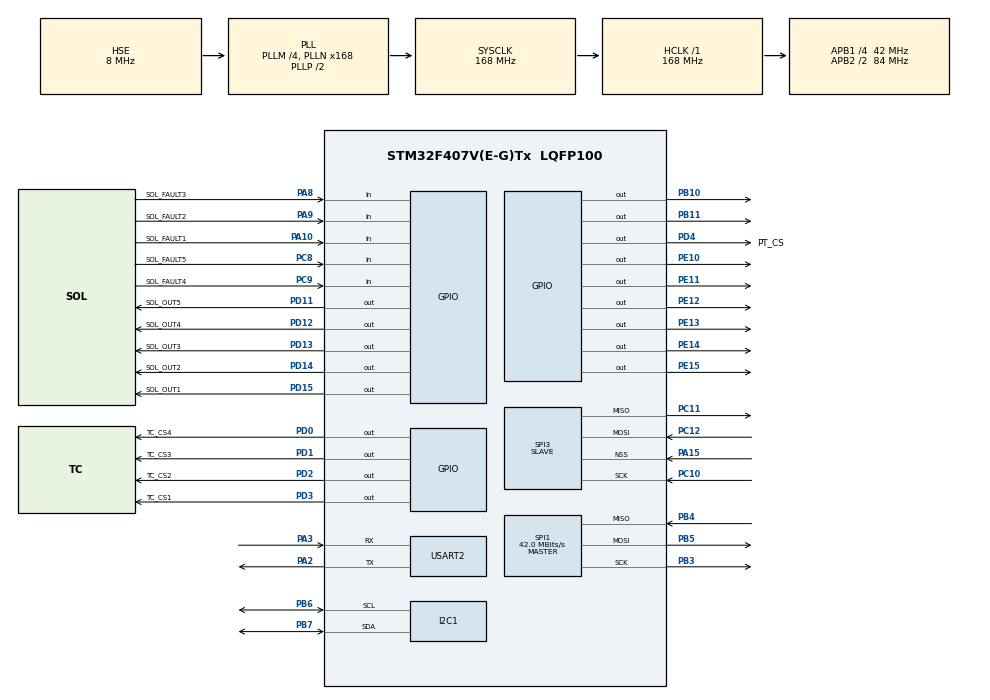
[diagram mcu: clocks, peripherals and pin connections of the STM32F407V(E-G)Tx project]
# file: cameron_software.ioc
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Mcu.Family=STM32F4
Mcu.Name=STM32F407V(E-G)Tx
Mcu.Package=LQFP100
NVIC.PriorityGroup=NVIC_PRIORITYGROUP_4
PA10.GPIO_Label=SOL_FAULT1
PA10.Signal=GPIO_Input
PA13.Mode=Serial_Wire
PA13.Signal=SYS_JTMS-SWDIO
PA14.Mode=Serial_Wire
PA14.Signal=SYS_JTCK-SWCLK
PA15.Mode=NSS_Signal_Hard_Input
PA15.Signal=SPI3_NSS
PA2.Mode=Asynchronous
PA2.Signal=USART2_TX
PA3.Mode=Asynchronous
PA3.Signal=USART2_RX
PA8.GPIO_Label=SOL_FAULT3
PA8.Signal=GPIO_Input
PA9.GPIO_Label=SOL_FAULT2
PA9.Signal=GPIO_Input
PB10.Signal=GPIO_Output
PB11.Signal=GPIO_Output
PB3.Mode=Full_Duplex_Master
PB3.Signal=SPI1_SCK
PB4.Mode=Full_Duplex_Master
PB4.Signal=SPI1_MISO
PB5.Mode=Full_Duplex_Master
PB5.Signal=SPI1_MOSI
PB6.Mode=I2C
PB6.Signal=I2C1_SCL
PB7.Mode=I2C
PB7.Signal=I2C1_SDA
PC10.Mode=Full_Duplex_Slave
PC10.Signal=SPI3_SCK
PC11.Mode=Full_Duplex_Slave
PC11.Signal=SPI3_MISO
PC12.Mode=Full_Duplex_Slave
PC12.Signal=SPI3_MOSI
PC8.GPIO_Label=SOL_FAULT5
PC8.Signal=GPIO_Input
PC9.GPIO_Label=SOL_FAULT4
PC9.Signal=GPIO_Input
PD0.GPIO_Label=TC_CS4
PD0.Signal=GPIO_Output
PD1.GPIO_Label=TC_CS3
PD1.Signal=GPIO_Output
PD11.GPIO_Label=SOL_OUT5
PD11.Signal=GPIO_Output
PD12.GPIO_Label=SOL_OUT4
PD12.Signal=GPIO_Output
PD13.GPIO_Label=SOL_OUT3
PD13.Signal=GPIO_Output
PD14.GPIO_Label=SOL_OUT2
PD14.Signal=GPIO_Output
PD15.GPIO_Label=SOL_OUT1
PD15.Signal=GPIO_Output
PD2.GPIO_Label=TC_CS2
PD2.Signal=GPIO_Output
PD3.GPIO_Label=TC_CS1
PD3.Signal=GPIO_Output
PD4.GPIO_Label=PT_CS
PD4.Signal=GPIO_Output
PE10.Signal=GPIO_Output
PE11.Signal=GPIO_Output
PE12.Signal=GPIO_Output
PE13.Signal=GPIO_Output
PE14.Signal=GPIO_Output
PE15.Signal=GPIO_Output
PH0-OSC_IN.Mode=HSE-External-Oscillator
PH0-OSC_IN.Signal=RCC_OSC_IN
PH1-OSC_OUT.Mode=HSE-External-Oscillator
PH1-OSC_OUT.Signal=RCC_OSC_OUT
ProjectManager.HeapSize=0x200
ProjectManager.StackSize=0x400
ProjectManager.TargetToolchain=TrueSTUDIO
RCC.48MHZClocksFreq_Value=84000000
RCC.AHBFreq_Value=168000000
RCC.APB1CLKDivider=RCC_HCLK_DIV4
RCC.APB1Freq_Value=42000000
RCC.APB1TimFreq_Value=84000000
RCC.APB2CLKDivider=RCC_HCLK_DIV2
RCC.APB2Freq_Value=84000000
RCC.APB2TimFreq_Value=168000000
RCC.CortexFreq_Value=168000000
RCC.HCLKFreq_Value=168000000
RCC.HSE_VALUE=8000000
RCC.HSI_VALUE=16000000
RCC.LSE_VALUE=32768
RCC.PLLM=4
RCC.PLLN=168
RCC.PLLSourceVirtual=RCC_PLLSOURCE_HSE
RCC.SYSCLKFreq_VALUE=168000000
RCC.SYSCLKSource=RCC_SYSCLKSOURCE_PLLCLK
RCC.VCOOutputFreq_Value=336000000
SPI1.BaudRatePrescaler=SPI_BAUDRATEPRESCALER_2
SPI1.CalculateBaudRate=42.0 MBits/s
SPI1.Direction=SPI_DIRECTION_2LINES
SPI1.Mode=SPI_MODE_MASTER
SPI1.VirtualType=VM_MASTER
SPI3.Direction=SPI_DIRECTION_2LINES
SPI3.Mode=SPI_MODE_SLAVE
SPI3.VirtualNSS=VM_NSSHARD
SPI3.VirtualType=VM_SLAVE
USART2.VirtualMode=VM_ASYNC
board=cameron_software

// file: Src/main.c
/**
  ******************************************************************************
  * @file           : main.c
  * @brief          : Main program body
  ******************************************************************************
  ** This notice applies to any and all portions of this file
  * that are not between comment pairs USER CODE BEGIN and
  * USER CODE END. Other portions of this file, whether
  * inserted by the user or by software development tools
  * are owned by their respective copyright owners.
  *
  * COPYRIGHT(c) 2018 STMicroelectronics
  *
  * Redistribution and use in source and binary forms, with or without modification,
  * are permitted provided that the following conditions are met:
  *   1. Redistributions of source code must retain the above copyright notice,
  *      this list of conditions and the following disclaimer.
  *   2. Redistributions in binary form must reproduce the above copyright notice,
  *      this list of conditions and the following disclaimer in the documentation
  *      and/or other materials provided with the distribution.
  *   3. Neither the name of STMicroelectronics nor the names of its contributors
  *      may be used to endorse or promote products derived from this software
  *      without specific prior written permission.
  *
  * THIS SOFTWARE IS PROVIDED BY THE COPYRIGHT HOLDERS AND CONTRIBUTORS "AS IS"
  * AND ANY EXPRESS OR IMPLIED WARRANTIES, INCLUDING, BUT NOT LIMITED TO, THE
  * IMPLIED WARRANTIES OF MERCHANTABILITY AND FITNESS FOR A PARTICULAR PURPOSE ARE
  * DISCLAIMED. IN NO EVENT SHALL THE COPYRIGHT HOLDER OR CONTRIBUTORS BE LIABLE
  * FOR ANY DIRECT, INDIRECT, INCIDENTAL, SPECIAL, EXEMPLARY, OR CONSEQUENTIAL
  * DAMAGES (INCLUDING, BUT NOT LIMITED TO, PROCUREMENT OF SUBSTITUTE GOODS OR
  * SERVICES; LOSS OF USE, DATA, OR PROFITS; OR BUSINESS INTERRUPTION) HOWEVER
  * CAUSED AND ON ANY THEORY OF LIABILITY, WHETHER IN CONTRACT, STRICT LIABILITY,
  * OR TORT (INCLUDING NEGLIGENCE OR OTHERWISE) ARISING IN ANY WAY OUT OF THE USE
  * OF THIS SOFTWARE, EVEN IF ADVISED OF THE POSSIBILITY OF SUCH DAMAGE.
  *
  ******************************************************************************
  */
#include "main.h"
#include "stm32f4xx_hal.h"
#include "i2c.h"
#include "spi.h"
#include "usart.h"
#include "gpio.h"

/* USER CODE BEGIN PV */
/* Private variables ---------------------------------------------------------*/

/* USER CODE END PV */

void SystemClock_Config(void);

/* USER CODE BEGIN PFP */
/* Private function prototypes -----------------------------------------------*/

/* USER CODE END PFP */

int main(void)
{

  /* MCU Configuration----------------------------------------------------------*/

  /* Reset of all peripherals, Initializes the Flash interface and the Systick. */
  HAL_Init();

  /* Configure the system clock */
  SystemClock_Config();

  /* Initialize all configured peripherals */
  MX_GPIO_Init();
  MX_I2C1_Init();
  MX_SPI1_Init();
  MX_SPI3_Init();
  MX_USART2_UART_Init();
  /* USER CODE BEGIN 2 */

  uint16_t TX_BUF_SIZE = 24;
  uint16_t RX_BUF_SIZE = 24;
  uint32_t timeout = 10000;

  uint8_t txBuf[TX_BUF_SIZE];
  uint8_t rxBuf[RX_BUF_SIZE];
  /* USER CODE END 2 */

  /* Infinite loop */
  while (1)
  {

  }

}

void SystemClock_Config(void)
{

  RCC_OscInitTypeDef RCC_OscInitStruct;
  RCC_ClkInitTypeDef RCC_ClkInitStruct;

    /**Configure the main internal regulator output voltage
    */
  __HAL_RCC_PWR_CLK_ENABLE();

  __HAL_PWR_VOLTAGESCALING_CONFIG(PWR_REGULATOR_VOLTAGE_SCALE1);

    /**Initializes the CPU, AHB and APB busses clocks
    */
  RCC_OscInitStruct.OscillatorType = RCC_OSCILLATORTYPE_HSE;
  RCC_OscInitStruct.HSEState = RCC_HSE_ON;
  RCC_OscInitStruct.PLL.PLLState = RCC_PLL_ON;
  RCC_OscInitStruct.PLL.PLLSource = RCC_PLLSOURCE_HSE;
  RCC_OscInitStruct.PLL.PLLM = 4;
  RCC_OscInitStruct.PLL.PLLN = 168;
  RCC_OscInitStruct.PLL.PLLP = RCC_PLLP_DIV2;
  RCC_OscInitStruct.PLL.PLLQ = 4;
  if (HAL_RCC_OscConfig(&RCC_OscInitStruct) != HAL_OK)
  {
    _Error_Handler(__FILE__, __LINE__);
  }

    /**Initializes the CPU, AHB and APB busses clocks
    */
  RCC_ClkInitStruct.ClockType = RCC_CLOCKTYPE_HCLK|RCC_CLOCKTYPE_SYSCLK
                              |RCC_CLOCKTYPE_PCLK1|RCC_CLOCKTYPE_PCLK2;
  RCC_ClkInitStruct.SYSCLKSource = RCC_SYSCLKSOURCE_PLLCLK;
  RCC_ClkInitStruct.AHBCLKDivider = RCC_SYSCLK_DIV1;
  RCC_ClkInitStruct.APB1CLKDivider = RCC_HCLK_DIV4;
  RCC_ClkInitStruct.APB2CLKDivider = RCC_HCLK_DIV2;

  if (HAL_RCC_ClockConfig(&RCC_ClkInitStruct, FLASH_LATENCY_5) != HAL_OK)
  {
    _Error_Handler(__FILE__, __LINE__);
  }

    /**Configure the Systick interrupt time
    */
  HAL_SYSTICK_Config(HAL_RCC_GetHCLKFreq()/1000);

    /**Configure the Systick
    */
  HAL_SYSTICK_CLKSourceConfig(SYSTICK_CLKSOURCE_HCLK);

  /* SysTick_IRQn interrupt configuration */
  HAL_NVIC_SetPriority(SysTick_IRQn, 0, 0);
}

/* USER CODE BEGIN 4 */

void SPI3_send(uint8_t *pData, uint16_t Size, uint32_t Timeout)
{
	// With the pin being put to "GPIO_PIN_RESET" or 0, the chip is selected
	// to be written to.
	while(HAL_SPI_GetState(&hspi3) == HAL_SPI_STATE_READY);

	HAL_SPI_Transmit(&hspi3, (uint8_t*)(pData), Size, Timeout);
	// Waits until the SPI bus is not busy

}

void SPI3_receive(uint8_t *pData, uint16_t Size, uint32_t Timeout)
{
	// With the pin being put to "GPIO_PIN_RESET" or 0, the chip is selected
	// to be written to.
	while(HAL_SPI_GetState(&hspi3) == HAL_SPI_STATE_READY);

	HAL_SPI_Receive(&hspi3, pData, Size, Timeout);

	// Waits until the SPI bus is not busy

}

void SPI1_send(uint8_t *pData, uint16_t Size, uint32_t Timeout)
{
	// With the pin being put to "GPIO_PIN_RESET" or 0, the chip is selected
	// to be written to.
	//HAL_GPIO_WritePin(SPI1_CS_GPIO_Port, SPI1_CS_Pin, GPIO_PIN_RESET);

	HAL_SPI_Transmit(&hspi1, (uint8_t*)(pData), Size, Timeout);
	// Waits until the SPI bus is not busy
	while(HAL_SPI_GetState(&hspi1) == HAL_SPI_STATE_BUSY);

	// Sets the CS pin to high, which deselects it
	//HAL_GPIO_WritePin(SPI1_CS_GPIO_Port, SPI1_CS_Pin, GPIO_PIN_SET);
}

void SPI1_receive(uint8_t *pData, uint16_t Size, uint32_t Timeout)
{
	// With the pin being put to "GPIO_PIN_RESET" or 0, the chip is selected
	// to be written to.
	//HAL_GPIO_WritePin(SPI1_CS_GPIO_Port, SPI1_CS_Pin, GPIO_PIN_RESET);

	HAL_SPI_Receive(&hspi1, pData, Size, Timeout);

	// Waits until the SPI bus is not busy
	while(HAL_SPI_GetState(&hspi1) == HAL_SPI_STATE_BUSY);

	// Sets the CS pin to high, which deselects it
	//HAL_GPIO_WritePin(SPI1_CS_GPIO_Port, SPI1_CS_Pin, GPIO_PIN_SET);

}

void SPI1_send_receive(uint8_t *pTxData, uint8_t *pRxData, uint16_t Size, uint32_t Timeout)
{
	// With the pin being put to "GPIO_PIN_RESET" or 0, the chip is selected
	// to be written to.
	//HAL_GPIO_WritePin(SPI1_CS_GPIO_Port, SPI1_CS_Pin, GPIO_PIN_RESET);

	HAL_SPI_TransmitReceive(&hspi1, pTxData, pRxData, Size, Timeout);

	// Waits until the SPI bus is not busy
	while(HAL_SPI_GetState(&hspi1) == HAL_SPI_STATE_BUSY);

	// Sets the CS pin to high, which deselects it
	//HAL_GPIO_WritePin(SPI1_CS_GPIO_Port, SPI1_CS_Pin, GPIO_PIN_SET);

}

void read_TC_1(uint8_t *rxBuf, uint32_t timeout)
{
	HAL_GPIO_WritePin(TC_CS1_GPIO_Port, TC_CS1_Pin, GPIO_PIN_RESET);
	//requires 32 bit buffer
	//rxBuf[31] is sign bit, rxBuf[30:18] are TC temperature(signed value)
	//rxBuf[15:4] is reference voltage
	SPI1_receive(rxBuf, (uint16_t)4, timeout);

	HAL_GPIO_WritePin(TC_CS1_GPIO_Port, TC_CS1_Pin, GPIO_PIN_SET);
}

void read_TC_2(uint8_t *rxBuf, uint32_t timeout)
{
	HAL_GPIO_WritePin(TC_CS2_GPIO_Port, TC_CS2_Pin, GPIO_PIN_RESET);
	//requires 32 bit buffer
	//rxBuf[31] is sign bit, rxBuf[30:18] are TC temperature(signed value)
	//rxBuf[15:4] is reference voltage
	SPI1_receive(rxBuf, (uint16_t)4, timeout);

	HAL_GPIO_WritePin(TC_CS2_GPIO_Port, TC_CS2_Pin, GPIO_PIN_SET);
}

void read_TC_3(uint8_t *rxBuf, uint32_t timeout)
{
	HAL_GPIO_WritePin(TC_CS3_GPIO_Port, TC_CS3_Pin, GPIO_PIN_RESET);
	//requires 32 bit buffer
	//rxBuf[31] is sign bit, rxBuf[30:18] are TC temperature(signed value)
	//rxBuf[15:4] is reference voltage
	SPI1_receive(rxBuf, (uint16_t)4, timeout);

	HAL_GPIO_WritePin(TC_CS3_GPIO_Port, TC_CS3_Pin, GPIO_PIN_SET);
}

void read_TC_4(uint8_t *rxBuf, uint32_t timeout)
{
	HAL_GPIO_WritePin(TC_CS4_GPIO_Port, TC_CS4_Pin, GPIO_PIN_RESET);
	//requires 32 bit buffer
	//rxBuf[31] is sign bit, rxBuf[30:18] are TC temperature(signed value)
	//rxBuf[15:4] is reference voltage
	SPI1_receive(rxBuf, (uint16_t)4, timeout);

	HAL_GPIO_WritePin(TC_CS4_GPIO_Port, TC_CS4_Pin, GPIO_PIN_SET);
}

void read_PT(uint8_t *rxBuf, uint32_t timeout, uint8_t pt_choice)
{
	//Select PT ADC, sets the pin to low, as the ADC chip select is active low
	HAL_GPIO_WritePin(PT_CS_GPIO_Port, PT_CS_Pin, GPIO_PIN_RESET);

	//configure ADC to output select
	uint8_t configure = 0x01;
	SPI1_send(&configure, (uint16_t)1, timeout);

	//select analog input
	uint16_t choice_mask = 0x0410;
	choice_mask = choice_mask & (uint16_t)pt_choice;
	SPI1_send((uint8_t)&choice_mask, (uint16_t)2, timeout);

	//configure ADC to read input
	uint8_t configure = 0x58;
	SPI1_send(&configure, (uint16_t)1, timeout);

	//read from data register
	SPI1_receive(rxBuf, (uint16_t)3, timeout);

	// Deselect PT ADC, sets the pin to high
	HAL_GPIO_WritePin(PT_CS_GPIO_Port, PT_CS_Pin, GPIO_PIN_SET);
}

void open_solenoid(uint32_t solenoid)
{
	switch(solenoid){
	case 1:
		HAL_GPIO_WritePin(SOL_OUT1_GPIO_Port, SOL_OUT1_Pin, GPIO_PIN_SET);
		break;
	case 2:
		HAL_GPIO_WritePin(SOL_OUT2_GPIO_Port, SOL_OUT2_Pin, GPIO_PIN_SET);
		break;
	case 3:
		HAL_GPIO_WritePin(SOL_OUT3_GPIO_Port, SOL_OUT3_Pin, GPIO_PIN_SET);
		break;
	case 4:
		HAL_GPIO_WritePin(SOL_OUT4_GPIO_Port, SOL_OUT4_Pin, GPIO_PIN_SET);
		break;
	case 5:
		HAL_GPIO_WritePin(SOL_OUT5_GPIO_Port, SOL_OUT5_Pin, GPIO_PIN_SET);
		break;
	default:
	}

}

void close_solenoid(uint32_t solenoid)
{
	switch(solenoid){
		case 1:
			HAL_GPIO_WritePin(SOL_OUT1_GPIO_Port, SOL_OUT1_Pin, GPIO_PIN_RESET);
			break;
		case 2:
			HAL_GPIO_WritePin(SOL_OUT2_GPIO_Port, SOL_OUT2_Pin, GPIO_PIN_RESET);
			break;
		case 3:
			HAL_GPIO_WritePin(SOL_OUT3_GPIO_Port, SOL_OUT3_Pin, GPIO_PIN_RESET);
			break;
		case 4:
			HAL_GPIO_WritePin(SOL_OUT4_GPIO_Port, SOL_OUT4_Pin, GPIO_PIN_RESET);
			break;
		case 5:
			HAL_GPIO_WritePin(SOL_OUT5_GPIO_Port, SOL_OUT5_Pin, GPIO_PIN_RESET);
			break;
		default:
		}
}

void SPI1_send_XBee(uint8_t frame_Type, uint8_t *pData, uint16_t Size, uint32_t Timeout)
{
	// With the pin being put to "GPIO_PIN_RESET" or 0, the chip is selected
	// to be written to.
	//HAL_GPIO_WritePin(SPI1_CS_GPIO_Port, SPI1_CS_Pin, GPIO_PIN_RESET);

	HAL_SPI_Transmit(&hspi1, (uint8_t*)(pData), Size, Timeout);
	uint8_t  packetHeader[4];
	uint8_t checkSum_byte;

	// Calculates the checksum of the data sent
	for(uint16_t i = 0; i < Size; i++)
	{
		checkSum_byte += pData[i];
	}
	checkSum_byte = 0xFF - checkSum_byte;

	packetHeader[0] = 0x7E; 					  // Starting delimiter of packet
	packetHeader[1] = (((Size + 1) >> 8) & 0xFF); // Honestly don't know what these do, but its the length of MSB
	packetHeader[2] = ((Size + 1) & 0xFF); 		  // Honestly don't know what these do, but its the length of LSB
	packetHeader[3] = frame_Type;			 	  // API frame type

	// Write the header of the SPI packet
	HAL_SPI_Transmit(&hspi1, (uint8_t*)(packetHeader), Size, Timeout);
		// Waits until the SPI bus is not busy
	while(HAL_SPI_GetState(&hspi1) == HAL_SPI_STATE_BUSY);

	// Writes the actual data of the SPI packet
	HAL_SPI_Transmit(&hspi1, (uint8_t*)(pData), Size, Timeout);
	// Waits until the SPI bus is not busy
	while(HAL_SPI_GetState(&hspi1) == HAL_SPI_STATE_BUSY);

	// Writes the checksum byte of the SPI packet
	HAL_SPI_Transmit(&hspi1, (uint8_t*)(&checkSum_byte), Size, Timeout);
	// Waits until the SPI bus is not busy
	while(HAL_SPI_GetState(&hspi1) == HAL_SPI_STATE_BUSY);

	// Sets the CS pin to high, which deselects it
	//HAL_GPIO_WritePin(SPI1_CS_GPIO_Port, SPI1_CS_Pin, GPIO_PIN_SET);
}

void SPI1_send_XBee_Packet(uint8_t frame_Type, uint64_t xbee_Dest_Addr, uint8_t *pData, uint16_t data_Size, uint32_t Timeout)
{
	// With the pin being put to "GPIO_PIN_RESET" or 0, the chip is selected
	// to be written to.
	//HAL_GPIO_WritePin(SPI1_CS_GPIO_Port, SPI1_CS_Pin, GPIO_PIN_RESET);

//	HAL_SPI_Transmit(&hspi1, (uint8_t*)(pData), Size, Timeout);

	const uint8_t PACKET_HEADER_SIZE = 17;

	uint8_t total_packet_size;
	uint8_t packetHeader[PACKET_HEADER_SIZE];
	uint8_t checkSum_byte;
	const uint8_t frameID = 0x01;
	const uint16_t xbee_Dest_Addr_16bit = 0xFFFE; // Send to 0xFFFE for unknown 16 bit addr
	const uint8_t broadcast_radius = 0x00;
	const uint8_t options = 0x00;

//	uint8_t * api_Packet;

	/*api_Packet = (uint8_t *) malloc(4 * sizeof(uint8_t) + sizeof(checkSum_byte) +
									sizeof(frameID) + sizeof(xbee_Dest_Addr_16bit) +
									sizeof(max_hops) + sizeof(options) + Size);*/

	total_packet_size = data_Size + PACKET_HEADER_SIZE; // Adds the API header size to the size of just the data to transmit

	// TODO change data size to reflect the MSB and LSB of the packet data between length and checksum

	packetHeader[0] = 0x7E; 					  		// Starting delimiter of packet for XBee API
	packetHeader[1] = (((data_Size + 1) >> 8) & 0xFF);  // Honestly don't know what these do, but its the length of MSB
	packetHeader[2] = ((data_Size + 1) & 0xFF); 		// Honestly don't know what these do, but its the length of LSB
	packetHeader[3] = frame_Type;			 	  		// API frame type

	packetHeader[4] = frameID;

	for(uint8_t i = 0; i < 8; i++)
	{
		// Converts 64 bit integer to 8, 8 bit integers
		packetHeader[i + 5] =  *((uint8_t *) (&xbee_Dest_Addr) + sizeof(uint8_t) * i);
	}

	packetHeader[13] = *((uint8_t *) (& xbee_Dest_Addr_16bit));
	packetHeader[14] = *((uint8_t *) (& xbee_Dest_Addr_16bit) + sizeof(uint8_t));
	packetHeader[15] = broadcast_radius;
	packetHeader[16] = options;

	// Calculates the checksum of the data sent
	for(uint16_t i = 3; i < (total_packet_size - 1); i++)
	{
		checkSum_byte += pData[i];
	}
	checkSum_byte = 0xFF - checkSum_byte;

	// Write the header of the SPI packet
	HAL_SPI_Transmit(&hspi1, (uint8_t*)(packetHeader), PACKET_HEADER_SIZE, Timeout);
		// Waits until the SPI bus is not busy
	while(HAL_SPI_GetState(&hspi1) == HAL_SPI_STATE_BUSY);

	// Writes the actual data of the SPI packet
	HAL_SPI_Transmit(&hspi1, (uint8_t*)(pData), data_Size, Timeout);
	// Waits until the SPI bus is not busy
	while(HAL_SPI_GetState(&hspi1) == HAL_SPI_STATE_BUSY);

	// Writes the checksum byte of the SPI packet
	HAL_SPI_Transmit(&hspi1, (uint8_t*)(&checkSum_byte), 1, Timeout);
	// Waits until the SPI bus is not busy
	while(HAL_SPI_GetState(&hspi1) == HAL_SPI_STATE_BUSY);

	// Sets the CS pin to high, which deselects it
	//HAL_GPIO_WritePin(SPI1_CS_GPIO_Port, SPI1_CS_Pin, GPIO_PIN_SET);
}

/* USER CODE END 4 */

void _Error_Handler(char *file, int line)
{
  while(1)
  {
  }
}

/************************ (C) COPYRIGHT STMicroelectronics *****END OF FILE****/
